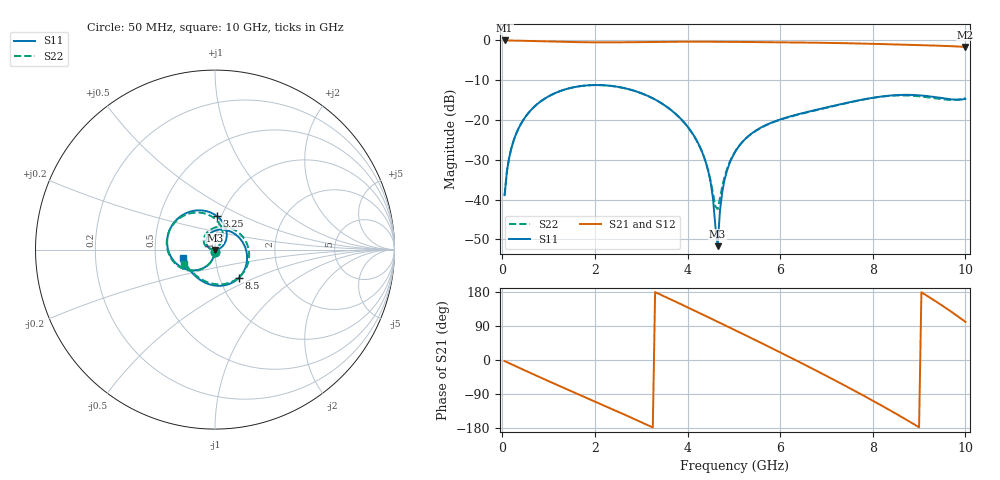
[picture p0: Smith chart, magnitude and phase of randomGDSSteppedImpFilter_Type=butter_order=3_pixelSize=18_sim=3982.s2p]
! freq	dB(S11)	phase(S11)	dB(S12)	phase(S12)
!  dB(S21)	phase(S21)	dB(S22)	phase(S22)
!S-par simulation data
#  GHz  S  DB  R 50
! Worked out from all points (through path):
!   200 points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, 50 MHz to 10 GHz, reference 50 ohm
!   highest |S21| = 0.00 dB at 50 MHz (marker M1); lowest = -1.6 dB at 10 GHz (marker M2)
!   group delay of S21, straight-line fit = 168 ps
!   lowest |S11| = -51.7 dB at 4.65 GHz (marker M3), VSWR 1.01, Z = 49.9 - j0.233 ohm
!   |S11| at or under -10 dB: start of sweep to end of sweep
!   |S22| runs from -42.4 to -11.2 dB; largest |S21 - S12| = 0
!   S11 on the Smith chart (normalised r, x): 50 MHz: 1.00, -0.02; 3.25 GHz: 0.95, +0.37; 8.5 GHz: 1.24, -0.40; 10 GHz: 0.69, -0.07
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0.05  -38.88 -92.6  -0.00 -2.9  -0.00 -2.9  -38.88 -92.5
0.1  -32.87 -95.7  -0.01 -5.7  -0.01 -5.7  -32.87 -95.5
0.2  -26.89 -101.6  -0.03 -11.4  -0.03 -11.4  -26.89 -101.3
0.5  -19.19 -119.0  -0.09 -28.2  -0.09 -28.2  -19.19 -118.2
1.15  -13.18 -155.7  -0.29 -64.0  -0.29 -64.0  -13.18 -153.6
1.75  -11.38 171.4  -0.45 -96.3  -0.45 -96.3  -11.38 174.8
2.45  -11.58 132.8  -0.48 -133.8  -0.48 -133.8  -11.58 138.4
3.25  -14.54 87.1  -0.38 -178.0  -0.38 -178.0  -14.55 96.5
3.4  -15.51 78.3  -0.36 173.5  -0.36 173.5  -15.51 88.6
4.3  -27.61 21.8  -0.31 121.5  -0.31 121.5  -27.63 46.7
4.5  -35.74 5.5  -0.32 109.8  -0.32 109.8  -35.30 50.7
4.65  -51.69 -116.1  -0.33 101.0  -0.33 101.0  -42.38 121.9
4.7  -42.83 -166.1  -0.33 98.0  -0.33 98.0  -39.65 150.1
4.8  -35.00 178.4  -0.34 92.1  -0.34 92.1  -34.25 167.5
5.05  -27.59 159.0  -0.36 77.3  -0.36 77.3  -27.50 166.1
5.95  -20.05 98.9  -0.46 23.3  -0.46 23.3  -20.13 122.8
6.7  -17.65 51.6  -0.55 -23.0  -0.55 -23.0  -17.74 80.3
7.55  -15.40 3.1  -0.73 -77.5  -0.73 -77.5  -15.45 26.8
8.35  -13.87 -40.8  -0.96 -131.2  -0.96 -131.2  -13.94 -28.6
8.5  -13.74 -49.4  -1.00 -141.6  -1.00 -141.6  -13.84 -39.4
9.25  -14.08 -95.7  -1.26 163.4  -1.26 163.4  -14.39 -93.3
10  -14.69 -165.6  -1.63 100.6  -1.63 100.6  -14.46 -154.3
